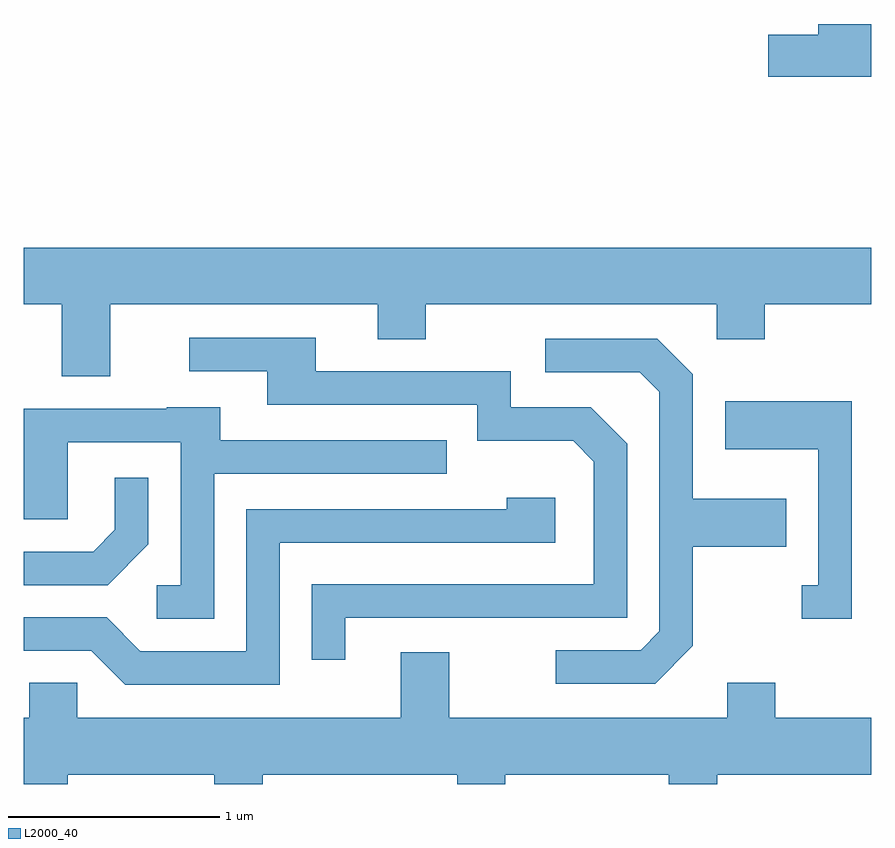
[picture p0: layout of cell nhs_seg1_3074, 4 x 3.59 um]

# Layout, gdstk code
import gdstk
lib = gdstk.Library(unit=1e-6, precision=1e-09)
def P(c, l, *ps):  # polygons
    for p in ps: c.add(gdstk.Polygon(p, *l))
L2000_40 = (2000, 40)

nhs_seg1_3074 = lib.new_cell('nhs_seg1_3074')
P(nhs_seg1_3074, L2000_40, [(281.611,945.299),(281.361,945.299),(281.361,945.249),(281.126,945.249),(281.126,945.051),(281.611,945.051)],
  [(278.019,943.976),(279.281,943.976),(279.281,943.811),(279.509,943.811),(279.509,943.976),(280.881,943.976),(280.881,943.811),(281.109,943.811),(281.109,943.976),(281.611,943.976),(281.611,944.244),(277.611,944.244),(277.611,943.976),(277.791,943.976),(277.791,943.636),(278.019,943.636)],
  [(279.129,942.496),(280.459,942.496),(280.459,943.317),(280.287,943.489),(279.909,943.489),(279.909,943.659),(278.989,943.659),(278.989,943.819),(278.393,943.819),(278.393,943.661),(278.761,943.661),(278.761,943.501),(279.751,943.501),(279.751,943.331),(280.204,943.331),(280.301,943.234),(280.301,942.654),(278.971,942.654),(278.971,942.298),(279.129,942.298)],
  [(280.769,942.364),(280.769,942.831),(281.209,942.831),(281.209,943.059),(280.769,943.059),(280.769,943.647),(280.602,943.814),(280.073,943.814),(280.073,943.656),(280.519,943.656),(280.611,943.564),(280.611,942.432),(280.524,942.344),(280.123,942.344),(280.123,942.186),(280.592,942.186)],
  [(281.519,943.519),(280.921,943.519),(280.921,943.291),(281.361,943.291),(281.361,942.649),(281.283,942.649),(281.283,942.491),(281.519,942.491)],
  [(278.509,943.176),(279.608,943.176),(279.608,943.334),(278.539,943.334),(278.539,943.489),(278.285,943.489),(278.285,943.484),(277.611,943.484),(277.611,942.961),(277.819,942.961),(277.819,943.326),(278.351,943.326),(278.351,942.649),(278.238,942.649),(278.238,942.491),(278.509,942.491)],
  [(278.199,942.844),(278.199,943.158),(278.041,943.158),(278.041,942.912),(277.939,942.809),(277.611,942.809),(277.611,942.651),(278.007,942.651)],
  [(278.819,942.851),(280.119,942.851),(280.119,943.064),(279.891,943.064),(279.891,943.009),(278.661,943.009),(278.661,942.339),(278.162,942.339),(278.002,942.499),(277.611,942.499),(277.611,942.341),(277.929,942.341),(278.089,942.181),(278.819,942.181)],
  [(277.819,941.756),(278.511,941.756),(278.511,941.712),(278.739,941.712),(278.739,941.756),(279.656,941.756),(279.656,941.712),(279.884,941.712),(279.884,941.756),(280.656,941.756),(280.656,941.712),(280.884,941.712),(280.884,941.756),(281.611,941.756),(281.611,942.024),(281.159,942.024),(281.159,942.189),(280.931,942.189),(280.931,942.024),(279.619,942.024),(279.619,942.334),(279.391,942.334),(279.391,942.024),(277.864,942.024),(277.864,942.189),(277.636,942.189),(277.636,942.024),(277.611,942.024),(277.611,941.712),(277.819,941.712)])

lib.write_gds('nhs_seg1_3074.gds')
